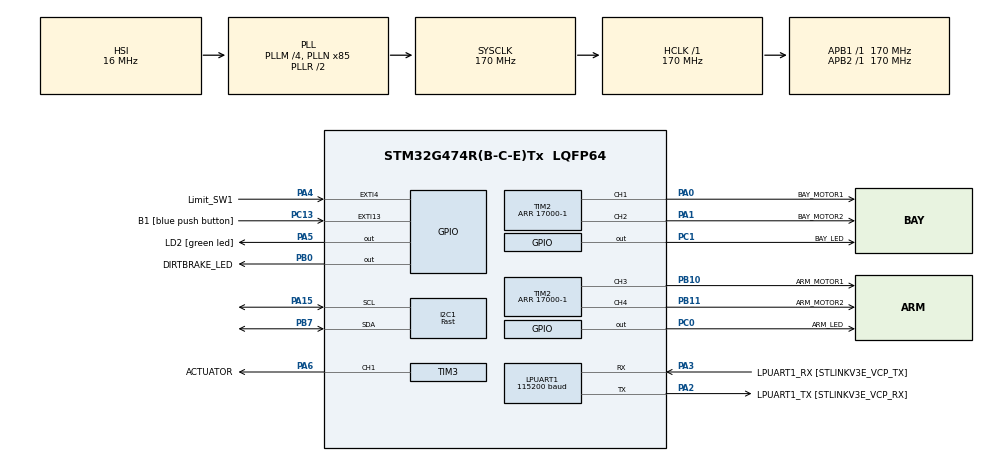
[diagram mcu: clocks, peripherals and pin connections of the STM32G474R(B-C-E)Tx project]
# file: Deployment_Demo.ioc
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I2C1.I2C_Speed_Mode=I2C_Fast
I2C1.Timing=0x10802D9B
LPUART1.BaudRate=115200
LPUART1.WordLength=UART_WORDLENGTH_8B
Mcu.Family=STM32G4
Mcu.Name=STM32G474R(B-C-E)Tx
Mcu.Package=LQFP64
NVIC.EXTI15_10_IRQn=true\:0\:0\:false\:false\:true\:true\:true\:true
NVIC.EXTI4_IRQn=true\:0\:0\:false\:false\:true\:true\:true\:true
NVIC.PriorityGroup=NVIC_PRIORITYGROUP_4
PA0.GPIO_Label=BAY_MOTOR1
PA0.Signal=S_TIM2_CH1
PA1.GPIO_Label=BAY_MOTOR2
PA1.Signal=S_TIM2_CH2
PA13.GPIO_Label=T_SWDIO
PA13.Mode=Serial_Wire
PA13.Signal=SYS_JTMS-SWDIO
PA14.GPIO_Label=T_SWCLK
PA14.Mode=Serial_Wire
PA14.Signal=SYS_JTCK-SWCLK
PA15.Mode=I2C
PA15.Signal=I2C1_SCL
PA2.GPIO_Label=LPUART1_TX [STLINKV3E_VCP_RX]
PA2.Mode=Asynchronous
PA2.Signal=LPUART1_TX
PA3.GPIO_Label=LPUART1_RX [STLINKV3E_VCP_TX]
PA3.Mode=Asynchronous
PA3.Signal=LPUART1_RX
PA4.GPIO_Label=Limit_SW1
PA4.Signal=GPXTI4
PA5.GPIO_Label=LD2 [green led]
PA5.Signal=GPIO_Output
PA6.GPIO_Label=ACTUATOR
PA6.Signal=S_TIM3_CH1
PB0.GPIO_Label=DIRTBRAKE_LED
PB0.Signal=GPIO_Output
PB10.GPIO_Label=ARM_MOTOR1
PB10.Signal=S_TIM2_CH3
PB11.GPIO_Label=ARM_MOTOR2
PB11.Signal=S_TIM2_CH4
PB3.GPIO_Label=T_SWO
PB3.Signal=SYS_JTDO-SWO
PB7.Mode=I2C
PB7.Signal=I2C1_SDA
PC0.GPIO_Label=ARM_LED
PC0.Signal=GPIO_Output
PC1.GPIO_Label=BAY_LED
PC1.Signal=GPIO_Output
PC13.GPIO_Label=B1 [blue push button]
PC13.Signal=GPXTI13
PC14-OSC32_IN.Mode=LSE-External-Oscillator
PC14-OSC32_IN.Signal=RCC_OSC32_IN
PC15-OSC32_OUT.Mode=LSE-External-Oscillator
PC15-OSC32_OUT.Signal=RCC_OSC32_OUT
PF0-OSC_IN.Mode=HSE-External-Oscillator
PF0-OSC_IN.Signal=RCC_OSC_IN
PF1-OSC_OUT.Mode=HSE-External-Oscillator
PF1-OSC_OUT.Signal=RCC_OSC_OUT
ProjectManager.HeapSize=0x200
ProjectManager.StackSize=0x400
ProjectManager.TargetToolchain=Makefile
RCC.ADC12Freq_Value=170000000
RCC.ADC345Freq_Value=170000000
RCC.AHBFreq_Value=170000000
RCC.APB1Freq_Value=170000000
RCC.APB1TimFreq_Value=170000000
RCC.APB2Freq_Value=170000000
RCC.APB2TimFreq_Value=170000000
RCC.CortexFreq_Value=170000000
RCC.EXTERNAL_CLOCK_VALUE=12288000
RCC.HCLKFreq_Value=170000000
RCC.HSE_VALUE=24000000
RCC.HSI48_VALUE=48000000
RCC.HSI_VALUE=16000000
RCC.PLLM=RCC_PLLM_DIV4
RCC.PLLN=85
RCC.RTCClockSelection=RCC_RTCCLKSOURCE_LSE
RCC.SYSCLKFreq_VALUE=170000000
RCC.SYSCLKSource=RCC_SYSCLKSOURCE_PLLCLK
RCC.USBFreq_Value=170000000
RCC.VCOOutputFreq_Value=340000000
SH.S_TIM2_CH1.0=TIM2_CH1,PWM Generation1 CH1
SH.S_TIM2_CH2.0=TIM2_CH2,PWM Generation2 CH2
SH.S_TIM2_CH3.0=TIM2_CH3,PWM Generation3 CH3
SH.S_TIM2_CH4.0=TIM2_CH4,PWM Generation4 CH4
SH.S_TIM3_CH1.0=TIM3_CH1,PWM Generation1 CH1
TIM2.Channel-PWM\ Generation1\ CH1=TIM_CHANNEL_1
TIM2.Channel-PWM\ Generation2\ CH2=TIM_CHANNEL_2
TIM2.Channel-PWM\ Generation3\ CH3=TIM_CHANNEL_3
TIM2.Channel-PWM\ Generation4\ CH4=TIM_CHANNEL_4
TIM2.PeriodNoDither=17000-1
TIM3.Channel-PWM\ Generation1\ CH1=TIM_CHANNEL_1
TIM3.PeriodNoDither=40000-1
TIM3.Prescaler=85-1
VP_SYS_VS_DBSignals.Mode=DisableDeadBatterySignals
VP_TIM3_VS_ClockSourceINT.Mode=Internal
board=NUCLEO-G474RE

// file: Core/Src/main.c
/* USER CODE BEGIN Header */
/**
  ******************************************************************************
  * @file           : main.c
  * @brief          : Main program body
  ******************************************************************************
  * @attention
  *
  * Copyright (c) 2023 STMicroelectronics.
  * All rights reserved.
  *
  * This software is licensed under terms that can be found in the LICENSE file
  * in the root directory of this software component.
  * If no LICENSE file comes with this software, it is provided AS-IS.
  *
  ******************************************************************************
  */
/* USER CODE END Header */
#include "main.h"
#include "i2c.h"
#include "usart.h"
#include "tim.h"
#include "gpio.h"

/* USER CODE BEGIN Includes */
#include "BNO055.h"
#include "motor.h"
/* USER CODE END Includes */

void SystemClock_Config(void);
/* USER CODE BEGIN PFP */
void deployDirtbrake(void);
void bayOrientation(void);
void armDeployment(void);
void armRetraction(void);
void retractDirtbrake(void);
/* USER CODE END PFP */

/* USER CODE BEGIN 0 */
BNO055_Axis_Vec_t eulerVec;
BNO055_AXIS_CONFIG_t axisConfig;
DCMotor_Config_t dcConfig;
DCMotor_Instance_t bayMotor;
DCMotor_Instance_t armMotor;
Actuator_Config_t actConfig;
Actuator_Instance_t actInstance;

typedef struct{

  void (*taskFunc)();

} state_task_t;

typedef enum{
  ARM_DEPLOYING,
  ARM_DONE_DEPLOYING,
  ARM_RETRACTING,
  ARM_DONE_RETRACTING
} Arm_State_t;

Arm_State_t armState;

/* USER CODE END 0 */

int main(void)
{

  /* MCU Configuration--------------------------------------------------------*/

  /* Reset of all peripherals, Initializes the Flash interface and the Systick. */
  HAL_Init();

  /* Configure the system clock */
  SystemClock_Config();

  /* Initialize all configured peripherals */
  MX_GPIO_Init();
  MX_I2C1_Init();
  MX_LPUART1_UART_Init();
  MX_TIM2_Init();
  MX_TIM3_Init();
  /* USER CODE BEGIN 2 */

  //Actuator Config
  actConfig.Min_Pulse           = 900;
  actConfig.Max_Pulse           = 2100;
  actConfig.Min_Length          = 0;
  actConfig.Max_Length          = 27;
  actConfig.Desired_Min_Length  = 0;
  actConfig.Desired_Max_Length  = 16;

  actInstance.Act_Timer = &htim3;
  actInstance.Channel   = TIM_CHANNEL_1;
  actInstance.config    = &actConfig;

  if(Actuator_Init(&actInstance) != ACTUATOR_OK){
    HAL_GPIO_WritePin(LD2_GPIO_Port, LD2_Pin, GPIO_PIN_SET);
    while(1);
  }

  //DC Motor Initialization
  dcConfig.Min_Speed = 0;
  dcConfig.Max_Speed = 100;

  bayMotor.DC_Timer    = &htim2;
  bayMotor.IN1_Channel = TIM_CHANNEL_1;
  bayMotor.IN2_Channel = TIM_CHANNEL_2;
  bayMotor.config      = &dcConfig;

  if(DCMotor_Init(&bayMotor) != DC_MOTOR_OK){
    HAL_GPIO_WritePin(LD2_GPIO_Port, LD2_Pin, GPIO_PIN_SET);
    while(1);
  }

  // Drive_DCMotor(&bayMotor, 70, CLOCKWISE);

  armMotor.DC_Timer    = &htim2;
  armMotor.IN1_Channel = TIM_CHANNEL_3;
  armMotor.IN2_Channel = TIM_CHANNEL_4;
  armMotor.config      = &dcConfig;

  if(DCMotor_Init(&armMotor) != DC_MOTOR_OK){
    HAL_GPIO_WritePin(LD2_GPIO_Port, LD2_Pin, GPIO_PIN_SET);
    while(1);
  }

  // Drive_DCMotor(&armMotor, 70, CLOCKWISE);

  //BNO055 Initialization
  HAL_Delay(700);
  BNO055_I2C_Mount(&hi2c1);
  if(BNO055_Init() != BNO055_SUCCESS){
    HAL_GPIO_WritePin(LD2_GPIO_Port, LD2_Pin, GPIO_PIN_SET);
    while(1);
  }
  BNO055_Set_OP_Mode(NDOF);

  state_task_t task[5];

  task[0].taskFunc = deployDirtbrake;
  task[1].taskFunc = bayOrientation;
  task[2].taskFunc = armDeployment;
  task[3].taskFunc = armRetraction;
  task[4].taskFunc = retractDirtbrake;

  /* USER CODE END 2 */

  /* Infinite loop */
  /* USER CODE BEGIN WHILE */
  while (1)
  {

    task[0].taskFunc();
    task[1].taskFunc();
    task[2].taskFunc();
    task[3].taskFunc();
    task[4].taskFunc();
    /* USER CODE END WHILE */

  }
}

void SystemClock_Config(void)
{
  RCC_OscInitTypeDef RCC_OscInitStruct = {0};
  RCC_ClkInitTypeDef RCC_ClkInitStruct = {0};

  /** Configure the main internal regulator output voltage
  */
  HAL_PWREx_ControlVoltageScaling(PWR_REGULATOR_VOLTAGE_SCALE1_BOOST);

  /** Initializes the RCC Oscillators according to the specified parameters
  * in the RCC_OscInitTypeDef structure.
  */
  RCC_OscInitStruct.OscillatorType = RCC_OSCILLATORTYPE_HSI;
  RCC_OscInitStruct.HSIState = RCC_HSI_ON;
  RCC_OscInitStruct.HSICalibrationValue = RCC_HSICALIBRATION_DEFAULT;
  RCC_OscInitStruct.PLL.PLLState = RCC_PLL_ON;
  RCC_OscInitStruct.PLL.PLLSource = RCC_PLLSOURCE_HSI;
  RCC_OscInitStruct.PLL.PLLM = RCC_PLLM_DIV4;
  RCC_OscInitStruct.PLL.PLLN = 85;
  RCC_OscInitStruct.PLL.PLLP = RCC_PLLP_DIV2;
  RCC_OscInitStruct.PLL.PLLQ = RCC_PLLQ_DIV2;
  RCC_OscInitStruct.PLL.PLLR = RCC_PLLR_DIV2;
  if (HAL_RCC_OscConfig(&RCC_OscInitStruct) != HAL_OK)
  {
    Error_Handler();
  }

  /** Initializes the CPU, AHB and APB buses clocks
  */
  RCC_ClkInitStruct.ClockType = RCC_CLOCKTYPE_HCLK|RCC_CLOCKTYPE_SYSCLK
                              |RCC_CLOCKTYPE_PCLK1|RCC_CLOCKTYPE_PCLK2;
  RCC_ClkInitStruct.SYSCLKSource = RCC_SYSCLKSOURCE_PLLCLK;
  RCC_ClkInitStruct.AHBCLKDivider = RCC_SYSCLK_DIV1;
  RCC_ClkInitStruct.APB1CLKDivider = RCC_HCLK_DIV1;
  RCC_ClkInitStruct.APB2CLKDivider = RCC_HCLK_DIV1;

  if (HAL_RCC_ClockConfig(&RCC_ClkInitStruct, FLASH_LATENCY_4) != HAL_OK)
  {
    Error_Handler();
  }
}

/* USER CODE BEGIN 4 */
void HAL_GPIO_EXTI_Callback(uint16_t GPIO_Pin){
  if(armState == ARM_DEPLOYING)
    armState = ARM_DONE_DEPLOYING;
  else if(armState == ARM_RETRACTING)
    armState = ARM_DONE_RETRACTING;
}

void deployDirtbrake(void){
  HAL_GPIO_WritePin(DIRTBRAKE_LED_GPIO_Port, DIRTBRAKE_LED_Pin, GPIO_PIN_SET);
  Drive_Actuator(&actInstance, 16);
  HAL_Delay(5000);
}

void bayOrientation(void){
  HAL_GPIO_WritePin(BAY_LED_GPIO_Port, BAY_LED_Pin, GPIO_PIN_SET);
  Drive_DCMotor(&bayMotor, 70, CLOCKWISE);

  for(uint8_t i = 0; i < 100; i++){
    BNO055_Get_Euler_Vec(&eulerVec);
    HAL_Delay(10);
  }

  if(eulerVec.y < 0){
    while(eulerVec.y <= 0){
      BNO055_Get_Euler_Vec(&eulerVec);
      HAL_Delay(10);
    }
  }
  else if(eulerVec.y > 0){
    while(eulerVec.y >= 0){
      BNO055_Get_Euler_Vec(&eulerVec);
      HAL_Delay(10);
    }
  }

  Stop_DCMotor(&bayMotor);
}

void armDeployment(void){
  armState = ARM_DEPLOYING;
  Drive_DCMotor(&armMotor, 70, COUNTER_CLOCKWISE);
  while(armState == ARM_DEPLOYING);
  Stop_DCMotor(&armMotor);
}

void armRetraction(void){
  armState = ARM_RETRACTING;
  Drive_DCMotor(&armMotor, 70, CLOCKWISE);
  while(armState == ARM_RETRACTING);
  Stop_DCMotor(&armMotor);
}

void retractDirtbrake(void){
  Drive_Actuator(&actInstance, 0);
  HAL_Delay(5000);
}

/* USER CODE END 4 */

void Error_Handler(void)
{
  __disable_irq();
  while (1)
  {
  }
}
